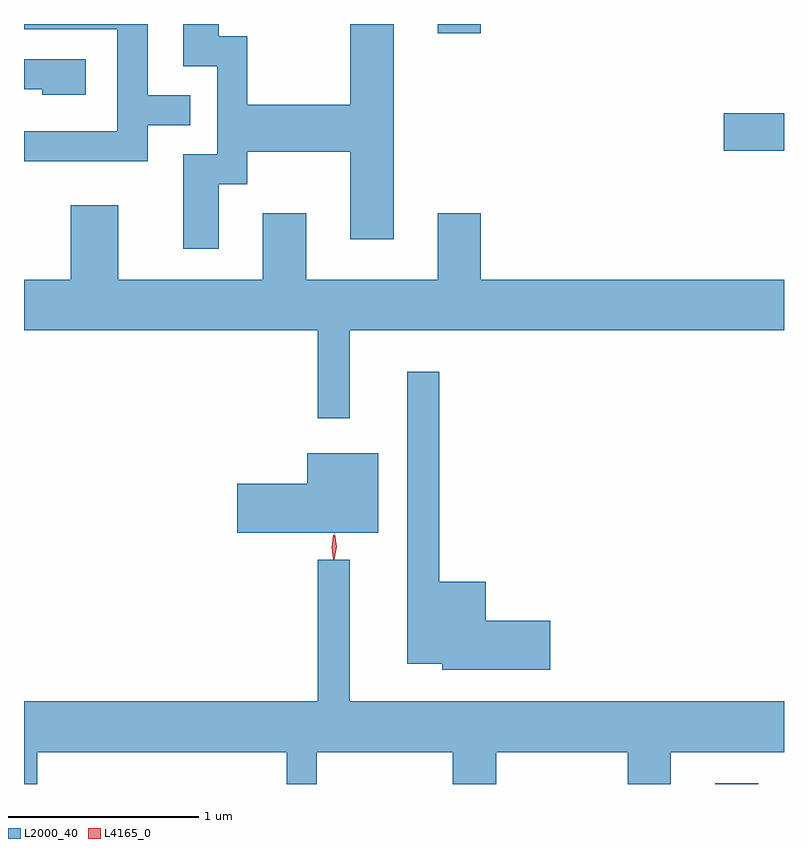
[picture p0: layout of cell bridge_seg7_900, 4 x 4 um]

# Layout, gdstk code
import gdstk
lib = gdstk.Library(unit=1e-6, precision=1e-09)
def R(c, l, rs):  # rectangles x0, y0, x1, y1
    for r in rs: c.add(gdstk.rectangle(r[:2], r[2:], *l))
def P(c, l, *ps):  # polygons
    for p in ps: c.add(gdstk.Polygon(p, *l))
L2000_40 = (2000, 40)
L4165_0 = (4165, 0)

bridge_seg7_900 = lib.new_cell('bridge_seg7_900')
R(bridge_seg7_900, L2000_40, [(561.171,1718.589,561.399,1718.594), (561.216,1721.921,561.534,1722.119), (559.711,1722.541,559.939,1722.589)])
P(bridge_seg7_900, L2000_40, [(558.559,1721.746),(558.709,1721.746),(558.709,1721.916),(559.251,1721.916),(559.251,1721.456),(559.479,1721.456),(559.479,1722.589),(559.251,1722.589),(559.251,1722.164),(558.709,1722.164),(558.709,1722.524),(558.559,1722.524),(558.559,1722.589),(558.371,1722.589),(558.371,1722.366),(558.551,1722.366),(558.551,1721.904),(558.371,1721.904),(558.371,1721.406),(558.559,1721.406)],
  [(558.184,1722.056),(558.408,1722.056),(558.408,1722.214),(558.184,1722.214),(558.184,1722.589),(557.534,1722.589),(557.534,1722.561),(558.026,1722.561),(558.026,1722.024),(557.534,1722.024),(557.534,1721.866),(558.184,1721.866)],
  [(557.859,1722.404),(557.534,1722.404),(557.534,1722.246),(557.631,1722.246),(557.631,1722.216),(557.859,1722.216)],
  [(559.249,1720.976),(561.534,1720.976),(561.534,1721.244),(559.939,1721.244),(559.939,1721.594),(559.711,1721.594),(559.711,1721.244),(559.019,1721.244),(559.019,1721.594),(558.791,1721.594),(558.791,1721.244),(558.029,1721.244),(558.029,1721.634),(557.781,1721.634),(557.781,1721.244),(557.534,1721.244),(557.534,1720.976),(559.081,1720.976),(559.081,1720.513),(559.249,1720.513)],
  [(560.304,1719.449),(559.964,1719.449),(559.964,1719.654),(559.719,1719.654),(559.719,1720.758),(559.551,1720.758),(559.551,1719.221),(559.736,1719.221),(559.736,1719.191),(560.304,1719.191)],
  [(559.399,1720.329),(559.026,1720.329),(559.026,1720.169),(558.656,1720.169),(558.656,1719.911),(559.399,1719.911)],
  [(557.534,1718.589),(557.604,1718.589),(557.604,1718.756),(558.916,1718.756),(558.916,1718.589),(559.074,1718.589),(559.074,1718.756),(559.791,1718.756),(559.791,1718.589),(560.019,1718.589),(560.019,1718.756),(560.711,1718.756),(560.711,1718.589),(560.939,1718.589),(560.939,1718.756),(561.534,1718.756),(561.534,1719.024),(559.249,1719.024),(559.249,1719.768),(559.081,1719.768),(559.081,1719.024),(557.534,1719.024)])
P(bridge_seg7_900, L4165_0, [(559.162,1719.773),(559.153,1719.836),(559.162,1719.899),(559.163,1719.9),(559.163,1719.899),(559.173,1719.836),(559.163,1719.773),(559.163,1719.773)],
  [(559.168,1719.77),(559.168,1719.77),(559.159,1719.838),(559.169,1719.905),(559.169,1719.906),(559.17,1719.905),(559.179,1719.838),(559.168,1719.77)])

lib.write_gds('bridge_seg7_900.gds')
